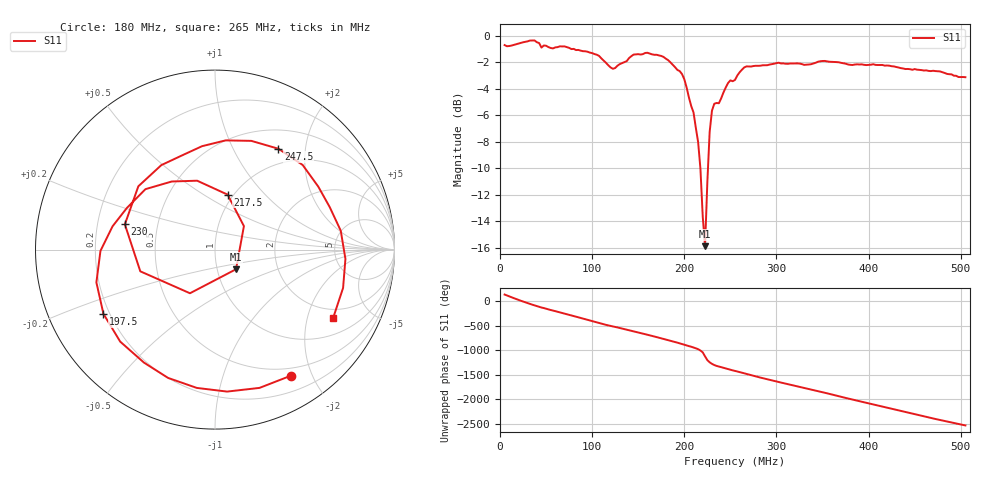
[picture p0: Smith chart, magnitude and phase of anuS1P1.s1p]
!Siglent,SMS1032XV,SVA3XA08C00002,6.0R10
!Date: 2025-12-10 05:14:16
!Data & Calibration Information:
!Freq	S11:(---)
# Hz S DB R 50
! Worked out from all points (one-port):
!   201 points, 5 MHz to 505 MHz, reference 50 ohm
!   lowest |S11| = -15.9 dB at 222.5 MHz (marker M1), VSWR 1.38, Z = 61.6 - j13.8 ohm
!   |S11| at or under -10 dB: 217.4 MHz to 225.7 MHz (8.259 MHz wide, 3.73 % of centre)
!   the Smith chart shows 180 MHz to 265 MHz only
!   S11 on the Smith chart (normalised r, x): 180 MHz: 0.40, -1.70; 197.5 MHz: 0.18, -0.26; 217.5 MHz: 0.94, +0.64; 230 MHz: 0.32, +0.12; 247.5 MHz: 0.76, +1.53; 265 MHz: 1.63, -2.92
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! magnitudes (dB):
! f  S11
! 5 MHz  -0.7
! 37.5 MHz  -0.3
! 45 MHz  -0.9
! 67.5 MHz  -0.8
! 105 MHz  -1.4
! 122.5 MHz  -2.5
! 130 MHz  -2.1
! 157.5 MHz  -1.3
! 180 MHz  -1.7
! 192.5 MHz  -2.6
! 197.5 MHz  -2.9
! 210 MHz  -5.8
! 215 MHz  -8.0
! 217.5 MHz  -10.1
! 220 MHz  -13.7
! 222.5 MHz  -15.9
! 225 MHz  -11.0
! 227.5 MHz  -7.3
! 230 MHz  -5.7
! 232.5 MHz  -5.1
! 237.5 MHz  -5.1
! 247.5 MHz  -3.6
! 255 MHz  -3.3
! 265 MHz  -2.4
! 317.5 MHz  -2.1
! 380 MHz  -2.2
! 442.5 MHz  -2.5
! 505 MHz  -3.1
